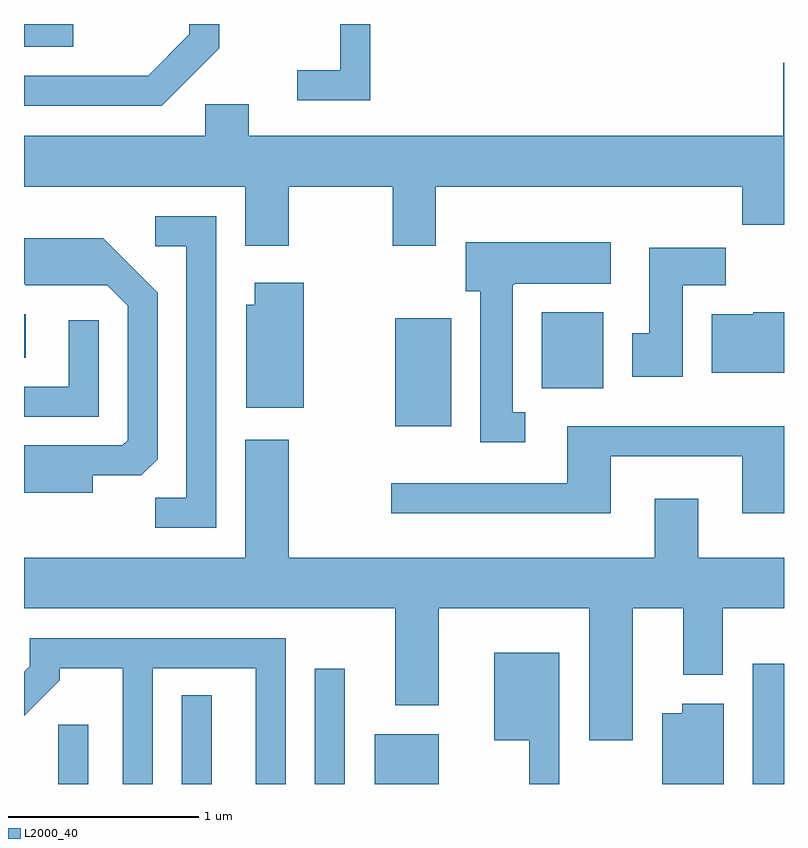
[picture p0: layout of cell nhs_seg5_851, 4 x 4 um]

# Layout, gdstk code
import gdstk
lib = gdstk.Library(unit=1e-6, precision=1e-09)
def R(c, l, rs):  # rectangles x0, y0, x1, y1
    for r in rs: c.add(gdstk.rectangle(r[:2], r[2:], *l))
def P(c, l, *ps):  # polygons
    for p in ps: c.add(gdstk.Polygon(p, *l))
L2000_40 = (2000, 40)

nhs_seg5_851 = lib.new_cell('nhs_seg5_851')
R(nhs_seg5_851, L2000_40, [(209.791,1478.072,209.949,1478.383), (210.441,1478.072,210.599,1478.538), (211.141,1478.072,211.299,1478.678), (211.456,1478.072,211.794,1478.334), (213.446,1478.072,213.611,1478.704), (211.566,1479.956,211.859,1480.524), (212.336,1480.156,212.659,1480.554), (209.611,1480.316,209.619,1480.544), (209.611,1481.951,209.869,1482.072)])
P(nhs_seg5_851, L2000_40, [(210.639,1481.944),(210.639,1482.072),(210.481,1482.072),(210.481,1482.017),(210.264,1481.799),(209.611,1481.799),(209.611,1481.641),(210.337,1481.641)],
  [(211.434,1482.072),(211.276,1482.072),(211.276,1481.829),(211.048,1481.829),(211.048,1481.671),(211.434,1481.671)],
  [(211.004,1481.216),(211.551,1481.216),(211.551,1480.906),(211.779,1480.906),(211.779,1481.216),(213.391,1481.216),(213.391,1481.016),(213.611,1481.016),(213.611,1481.868),(213.606,1481.868),(213.606,1481.484),(210.794,1481.484),(210.794,1481.649),(210.566,1481.649),(210.566,1481.484),(209.611,1481.484),(209.611,1481.216),(210.776,1481.216),(210.776,1480.906),(211.004,1480.906)],
  [(210.624,1481.059),(210.303,1481.059),(210.303,1480.901),(210.466,1480.901),(210.466,1479.579),(210.303,1479.579),(210.303,1479.421),(210.624,1479.421)],
  [(209.974,1479.696),(210.229,1479.696),(210.314,1479.782),(210.314,1480.657),(210.027,1480.944),(209.611,1480.944),(209.611,1480.704),(209.619,1480.696),(210.049,1480.696),(210.156,1480.589),(210.156,1479.882),(210.129,1479.854),(209.611,1479.854),(209.611,1479.606),(209.974,1479.606)],
  [(212.248,1480.029),(212.184,1480.029),(212.184,1480.7),(212.19,1480.7),(212.19,1480.706),(212.699,1480.706),(212.699,1480.924),(211.936,1480.924),(211.936,1480.666),(212.011,1480.666),(212.011,1479.871),(212.248,1479.871)],
  [(213.079,1480.696),(213.304,1480.696),(213.304,1480.894),(212.901,1480.894),(212.901,1480.444),(212.811,1480.444),(212.811,1480.216),(213.079,1480.216)],
  [(211.084,1480.709),(210.826,1480.709),(210.826,1480.594),(210.781,1480.594),(210.781,1480.051),(211.084,1480.051)],
  [(213.611,1480.554),(213.45,1480.554),(213.45,1480.544),(213.231,1480.544),(213.231,1480.236),(213.611,1480.236)],
  [(210.004,1480.513),(209.846,1480.513),(209.846,1480.164),(209.611,1480.164),(209.611,1480.006),(210.004,1480.006)],
  [(212.699,1479.796),(213.391,1479.796),(213.391,1479.496),(213.611,1479.496),(213.611,1479.954),(212.471,1479.954),(212.471,1479.654),(211.543,1479.654),(211.543,1479.496),(212.699,1479.496)],
  [(212.814,1478.996),(213.081,1478.996),(213.081,1478.646),(213.289,1478.646),(213.289,1478.996),(213.611,1478.996),(213.611,1479.264),(213.159,1479.264),(213.159,1479.574),(212.931,1479.574),(212.931,1479.264),(211.004,1479.264),(211.004,1479.884),(210.776,1479.884),(210.776,1479.264),(209.611,1479.264),(209.611,1478.996),(211.566,1478.996),(211.566,1478.486),(211.794,1478.486),(211.794,1478.996),(212.586,1478.996),(212.586,1478.301),(212.814,1478.301)],
  [(210.289,1478.681),(210.831,1478.681),(210.831,1478.072),(210.989,1478.072),(210.989,1478.839),(209.641,1478.839),(209.641,1478.692),(209.611,1478.662),(209.611,1478.43),(209.799,1478.619),(209.799,1478.681),(210.131,1478.681),(210.131,1478.072),(210.289,1478.072)],
  [(212.429,1478.764),(212.086,1478.764),(212.086,1478.301),(212.271,1478.301),(212.271,1478.072),(212.429,1478.072)],
  [(213.294,1478.494),(213.076,1478.494),(213.076,1478.444),(212.971,1478.444),(212.971,1478.072),(213.294,1478.072)])

lib.write_gds('nhs_seg5_851.gds')
